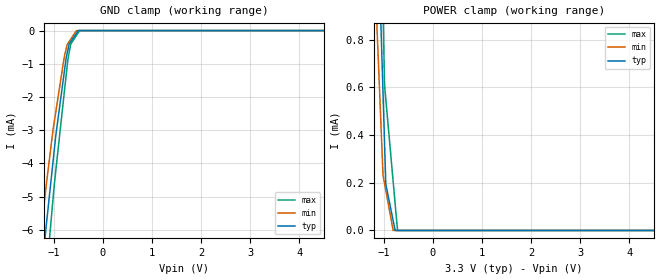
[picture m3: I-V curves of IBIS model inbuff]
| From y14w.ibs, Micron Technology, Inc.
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|   inbuff MODEL
[Model]   inbuff
Model_type   Input
Vinl = 800.000mV
Vinh = 2.000V
|   typ   min   max
C_comp   2.250pF   2.000pF   2.500pF
[Voltage Range]   3.300V   3.000V   3.600V
| Junction Temperature (Ambient temp is 25C typ, 70C min, 0C max)
[Temperature Range]   40.0   85.0   0.0
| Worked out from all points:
|   GND clamp passes 1 mA (typ) near -0.77 V on its own axis
|   POWER clamp passes 1 mA (typ) near -1.08 V on its own axis
[GND Clamp]
|   Voltage   I(typ)   I(min)   I(max)
-3.3V     -734.1mA   -758.4mA   -706.4mA
-1.27V    -7.601mA   -6.195mA   -9.305mA
-1.195V   -6.476mA   -5.194mA   -8.021mA
-1.15V    -5.808mA   -4.593mA   -7.275mA
-1.015V   -3.926mA   -2.977mA   -5.045mA
-960mV    -3.159mA   -2.449mA   -4.215mA
-750mV    -831.5uA   -558.4uA   -1.355mA
-715mV    -585.9uA   -393.6uA   -884.1uA
-655mV    -328.4uA   -256.4uA   -402.2uA
-540mV    -88.14uA   0A         -147.8uA
-475mV    0A         0A         0A
6.6V      0A         0A         0A
[POWER Clamp]
|   Voltage   I(typ)   I(min)   I(max)
-3.3V     36.03mA    31.11mA    41.23mA
-1.15V    1.471mA    904.1uA    2.433mA
-1.02V    597.4uA    246.7uA    980uA
-1.015V   563.9uA    229uA      924.1uA
-985mV    362.4uA    195.9uA    608.3uA
-960mV    194.5uA    168.3uA    550.6uA
-785mV    15.51uA    0A         146.6uA
-770mV    0A         0A         NA
-720mV    0A         0A         0A
6.6V      0A         0A         0A
